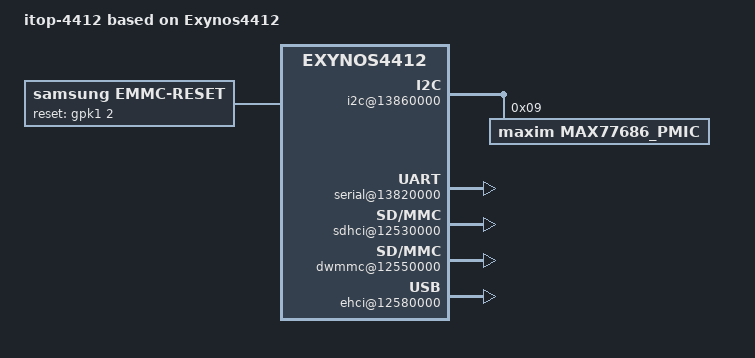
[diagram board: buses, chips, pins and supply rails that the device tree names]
/*
 * Odroid-U3/X2 board device tree source
 *
 * Copyright (c) 2014 Samsung Electronics Co., Ltd.
 *		http://www.samsung.com
 *
 * SPDX-License-Identifier:	GPL-2.0+
 */

/dts-v1/;
#include "exynos4412.dtsi"
#include <dt-bindings/gpio/gpio.h>

/ {
	model = "itop-4412 based on Exynos4412";
	compatible = "samsung,itop-4412", "samsung,exynos4412";

	aliases {
		i2c0 = "/i2c@13860000";
		i2c1 = "/i2c@13870000";
		i2c2 = "/i2c@13880000";
		i2c3 = "/i2c@13890000";
		i2c4 = "/i2c@138a0000";
		i2c5 = "/i2c@138b0000";
		i2c6 = "/i2c@138c0000";
		i2c7 = "/i2c@138d0000";
		serial0 = "/serial@13820000";
		console = "/serial@13820000";
		mmc2 = "sdhci@12530000";    /* TF card */
		mmc4 = "dwmmc@12550000";    /* eMMC */
	};

	i2c@13860000 {
		samsung,i2c-sda-delay = <100>;
		samsung,i2c-slave-addr = <0x10>;
		samsung,i2c-max-bus-freq = <100000>;
		status = "okay";

		max77686_pmic@09 {
			compatible = "maxim,max77686_pmic";
			interrupts = <7 0>;
			reg = <0x09 0 0>;
			#clock-cells = <1>;

			/* TODO: need detail info? */
		};
	};

	/* UART2 */
	serial@13820000 {
		status = "okay";
	};

	/* TF card */
	sdhci@12530000 {
		samsung,bus-width = <4>;
		/*samsung,timing = <1 2 3>;*/
		/*cd-gpios = <&gpk2 2 0>;*/
		status = "okay";
	};

	/* eMMC */
	dwmmc@12550000 {
		samsung,bus-width = <8>;
		samsung,timing = <2 1 0>;
		samsung,removable = <0>;
		fifoth_val = <0x203f0040>;
		bus_hz = <400000000>;
		div = <0x3>;
		index = <4>;
		status = "okay";
	};

	/* USB 2.0 Host Controller */
	ehci@12580000 {
		compatible = "samsung,exynos-ehci";
		/* In order to reset USB ethernet */
		samsung,vbus-gpio = <&gpc0 1 GPIO_ACTIVE_HIGH>;
		reg = <0x12580000 0x100>;
		#address-cells = <1>;
		#size-cells = <1>;
		phy {
			compatible = "samsung,exynos-usb-phy";
			reg = <0x125B0000 0x100>;
		};
	};

	emmc-reset {
		compatible = "samsung,emmc-reset";
		reset-gpio = <&gpk1 2 0>;
	};
};

